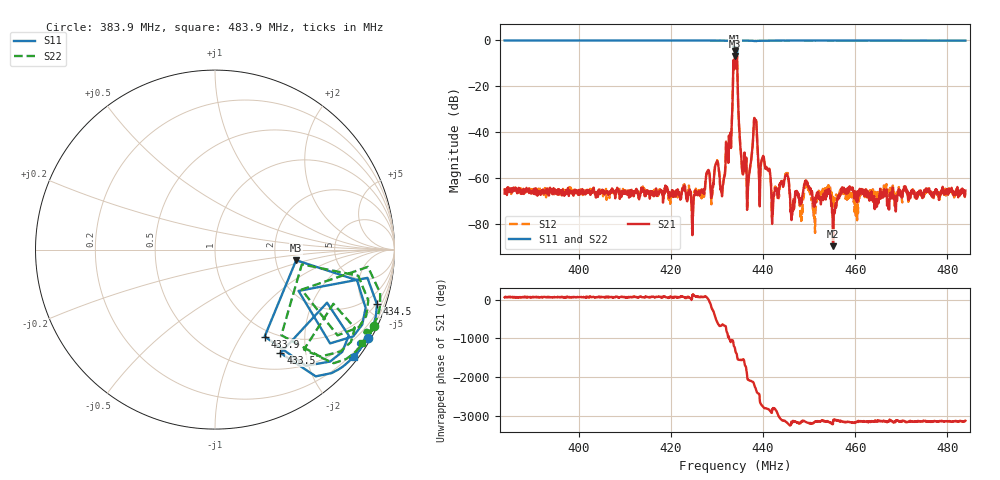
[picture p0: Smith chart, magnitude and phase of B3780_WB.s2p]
! Matrix data file written by TouchstoneData, EPCOS AG
! FILENAME: "newformat_B3780_WB.s2p"
! COMMENT: "22 Jul 2004 S11-NoP:1601;Caltype:FULL2PORT;P"
! INFO: nport=2, nfreq=1601
! DATE: "Wed Sep 19 15:43:50 2012"
! USER: "Wilfried Schott"
! port | pin | signal
!  1  |  2  |  IN
!  2  |  5  |  OUT
# MHZ S MA R 50
! freq  magS11 angS11  magS21 angS21  magS12 angS12  magS22 angS22
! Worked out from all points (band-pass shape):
!   1601 points, 383.9 MHz to 483.9 MHz, reference 50 ohm
!   highest |S21| = -4.91 dB at 434 MHz (marker M1); lowest = -89.5 dB at 455.2 MHz (marker M2)
!   |S21| within 3 dB of the highest: 433.8867 MHz to 434.0403 MHz (153.7 kHz wide, 0.0354 % of centre); 434.3353 MHz to 434.3698 MHz (34.51 kHz wide, 0.00795 % of centre)
!   lowest |S11| = -6.8 dB at 434 MHz (marker M3), VSWR 2.68, Z = 130 - j19.5 ohm
!   |S11| at or under -10 dB: nowhere
!   |S22| runs from -6.2 to -0.1 dB; largest |S21 - S12| = 0.024
!   S11 on the Smith chart (normalised r, x): 383.9 MHz: 0.13, -3.74; 433.5 MHz: 0.73, -1.57; 433.9 MHz: 0.91, -1.28; 434.5 MHz: 0.90, -5.95; 483.9 MHz: 0.11, -2.93
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383.92  0.9828 -29.9  0.0004649 64.9  0.0006138 64.9  0.9844 -25.5
400.6075  0.9817 -31.2  0.0005462 75.3  0.0005272 65.2  0.9813 -26.7
417.295  0.9805 -32.7  0.0005115 82.6  0.000524 72.5  0.9806 -28.1
424.8575  0.979 -33.5  0.0002006 127.0  0.000276 128.3  0.9783 -28.9
429.9825  0.9747 -34.5  0.002312 164.8  0.002248 163.4  0.9753 -29.9
431.17  0.9775 -35.2  0.0005331 80.7  0.0004847 82.0  0.9775 -30.5
432.7325  0.9743 -37.6  0.005958 53.0  0.005986 52.2  0.974 -32.6
433.545  0.6818 -57.7  0.2841 -14.1  0.2945 -16.5  0.7457 -48.3
433.92  0.5577 -60.2  0.5 179.1  0.5101 177.4  0.6033 -52.2
433.9825  0.4559 -7.5  0.5683 128.9  0.5646 126.7  0.4907 -9.6
434.4825  0.9528 -18.7  0.1107 -95.7  0.1076 -96.1  0.951 -14.7
435.295  0.9802 -30.3  0.002759 -121.2  0.002691 -122.3  0.9805 -25.9
436.6075  0.9742 -32.6  0.0002608 135.5  0.0003951 122.0  0.9748 -28.1
438.295  0.9607 -32.9  0.01713 -105.3  0.01715 -105.9  0.9624 -28.2
439.2325  0.9655 -32.8  0.0005147 61.6  0.0003822 49.4  0.9688 -28.1
442.2325  0.9791 -33.5  0.0003472 82.3  0.0004697 65.7  0.9776 -28.9
445.045  0.9767 -33.8  0.0012 78.7  0.001283 80.4  0.9768 -29.3
446.42  0.9783 -34.1  0.0002206 77.5  0.0002652 98.9  0.9766 -29.4
450.6075  0.9774 -34.5  0.0005193 38.8  0.0003881 20.5  0.9774 -29.8
455.17  0.9782 -35.1  3.365e-05 24.0  0.0003001 78.2  0.9764 -30.2
467.295  0.9773 -36.2  0.000246 87.5  0.000411 100.7  0.9743 -31.3
483.92  0.9764 -37.6  0.0005427 113.3  0.0004803 115.0  0.9711 -32.4
